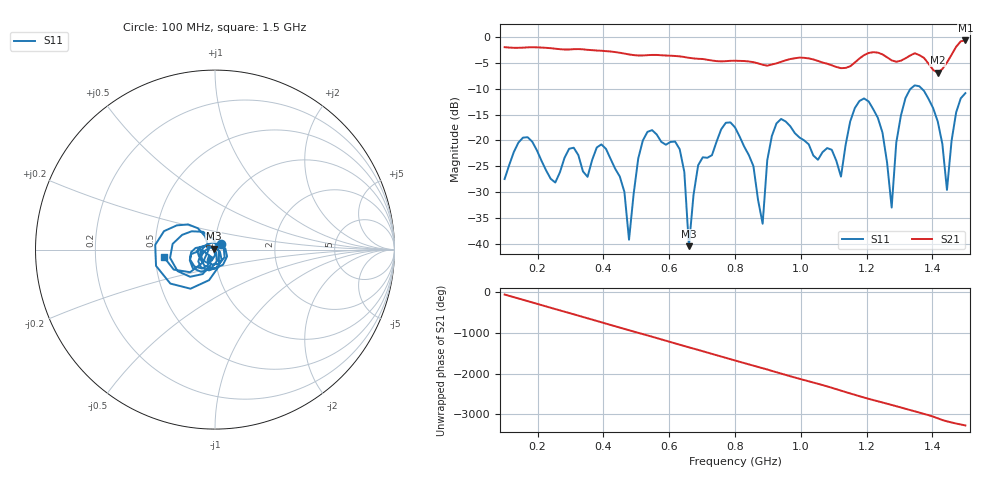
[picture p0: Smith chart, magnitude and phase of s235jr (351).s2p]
! NanoVNA-App
! Date: 2025-09-25 15:06:53
! Start: 100MHz Stop: 1,5GHz Points: 101
! S-Parameter data: F S11 S21 S12 S22
# Hz S RI R 50
!  Frequency  S11_Real  S11_Imag  S21_Real  S21_Imag  S12_Real  S12_Imag  S22_Real  S22_Imag
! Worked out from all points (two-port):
!   101 points, 100 MHz to 1.5 GHz, reference 50 ohm
!   highest |S21| = -0.67 dB at 1.5 GHz (marker M1); lowest = -6.9 dB at 1.416 GHz (marker M2)
!   |S21| within 3 dB of the highest: start of sweep to 617.7 MHz; 1.189 GHz to 1.256 GHz (66.89 MHz wide, 5.47 % of centre) (the widest 2 of 4)
!   lowest |S11| = -40.5 dB at 660 MHz (marker M3), VSWR 1.02, Z = 49.2 + j0.535 ohm
!   |S11| at or under -10 dB: start of sweep to 1.334 GHz; 1.368 GHz to end of sweep
!   S12 and S22 are empty: the file has one direction only
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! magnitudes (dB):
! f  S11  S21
! 100 MHz  -27.5  -2.0
! 156 MHz  -19.5  -2.1
! 338 MHz  -26.0  -2.4
! 408 MHz  -21.6  -2.7
! 478 MHz  -39.2  -3.4
! 520 MHz  -20.0  -3.6
! 576 MHz  -20.3  -3.5
! 632 MHz  -21.7  -3.7
! 660 MHz  -40.5  -4.0
! 688 MHz  -24.8  -4.2
! 800 MHz  -17.5  -4.6
! 884 MHz  -36.1  -5.4
! 926 MHz  -16.7  -5.1
! 1.038 GHz  -22.9  -4.3
! 1.122 GHz  -27.0  -6.0
! 1.206 GHz  -12.5  -3.1
! 1.276 GHz  -33.0  -4.5
! 1.29 GHz  -20.4  -4.8
! 1.332 GHz  -10.1  -3.6
! 1.416 GHz  -16.3  -6.9
! 1.444 GHz  -29.6  -4.9
! 1.5 GHz  -10.9  -0.7
